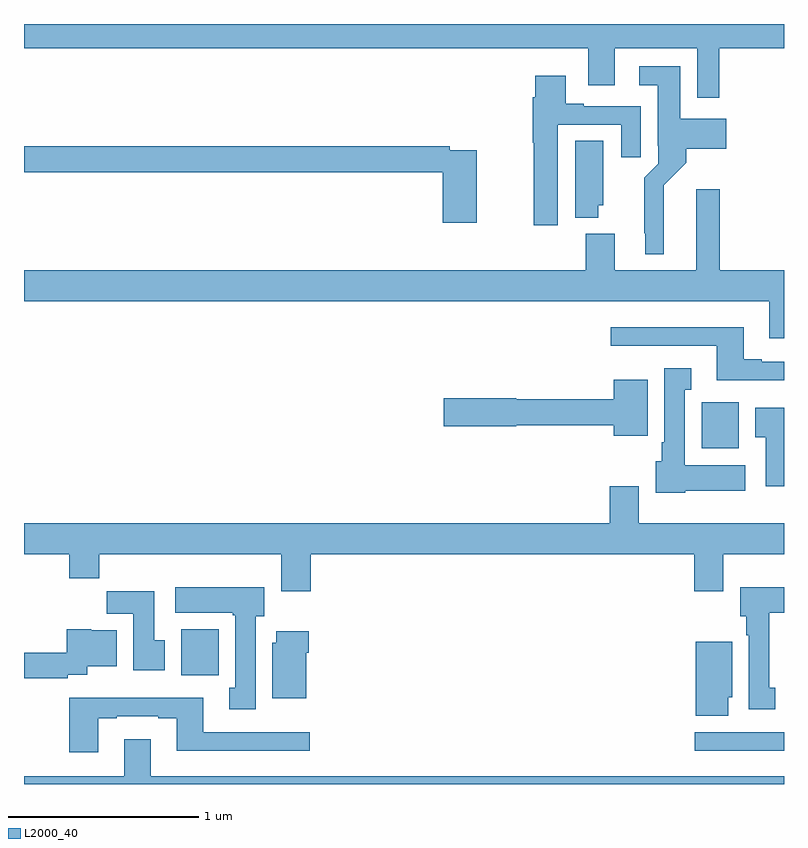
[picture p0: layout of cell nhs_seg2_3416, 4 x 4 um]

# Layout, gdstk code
import gdstk
lib = gdstk.Library(unit=1e-6, precision=1e-09)
def R(c, l, rs):  # rectangles x0, y0, x1, y1
    for r in rs: c.add(gdstk.rectangle(r[:2], r[2:], *l))
def P(c, l, *ps):  # polygons
    for p in ps: c.add(gdstk.Polygon(p, *l))
L2000_40 = (2000, 40)

nhs_seg2_3416 = lib.new_cell('nhs_seg2_3416')
R(nhs_seg2_3416, L2000_40, [(294.531,607.976,295,608.073), (291.827,608.372,292.024,608.614), (294.566,609.566,294.763,609.808)])
P(nhs_seg2_3416, L2000_40, [(295,611.8),(291,611.8),(291,611.672),(293.969,611.672),(293.969,611.478),(294.109,611.478),(294.109,611.672),(294.543,611.672),(294.543,611.412),(294.659,611.412),(294.659,611.672),(295,611.672)],
  [(294.367,610.952),(294.485,611.07),(294.485,611.144),(294.697,611.144),(294.697,611.302),(294.454,611.302),(294.454,611.578),(294.237,611.578),(294.237,611.477),(294.335,611.477),(294.335,611.158),(294.339,611.158),(294.339,611.064),(294.265,610.99),(294.265,610.699),(294.269,610.699),(294.269,610.589),(294.367,610.589)],
  [(293.809,611.271),(294.143,611.271),(294.143,611.1),(294.247,611.1),(294.247,611.367),(293.947,611.367),(293.947,611.38),(293.851,611.38),(293.851,611.527),(293.69,611.527),(293.69,611.414),(293.678,611.414),(293.678,611.174),(293.683,611.174),(293.683,610.74),(293.809,610.74)],
  [(294.022,610.845),(294.049,610.845),(294.049,611.186),(293.9,611.186),(293.9,610.781),(294.022,610.781)],
  [(293.382,611.136),(293.24,611.136),(293.24,611.156),(291,611.156),(291,611.02),(293.204,611.02),(293.204,610.755),(293.382,610.755)],
  [(293.957,610.696),(293.957,610.504),(291,610.504),(291,610.34),(294.923,610.34),(294.923,610.146),(295,610.146),(295,610.504),(294.662,610.504),(294.662,610.93),(294.539,610.93),(294.539,610.504),(294.109,610.504),(294.109,610.696)],
  [(295,610.023),(294.883,610.023),(294.883,610.036),(294.787,610.036),(294.787,610.204),(294.087,610.204),(294.087,610.107),(294.647,610.107),(294.647,609.926),(295,609.926)],
  [(294.48,609.344),(294.796,609.344),(294.796,609.478),(294.478,609.478),(294.478,609.875),(294.511,609.875),(294.511,609.988),(294.371,609.988),(294.371,609.598),(294.356,609.598),(294.356,609.498),(294.326,609.498),(294.326,609.332),(294.48,609.332)],
  [(294.283,609.928),(294.104,609.928),(294.104,609.824),(293.592,609.824),(293.592,609.83),(293.208,609.83),(293.208,609.683),(293.592,609.683),(293.592,609.688),(294.104,609.688),(294.104,609.632),(294.283,609.632)],
  [(295,609.781),(294.848,609.781),(294.848,609.625),(294.905,609.625),(294.905,609.366),(295,609.366)],
  [(292.508,609.008),(294.527,609.008),(294.527,608.814),(294.679,608.814),(294.679,609.008),(295,609.008),(295,609.172),(294.235,609.172),(294.235,609.367),(294.083,609.367),(294.083,609.172),(291,609.172),(291,609.008),(291.239,609.008),(291.239,608.884),(291.395,608.884),(291.395,609.008),(292.355,609.008),(292.355,608.814),(292.508,608.814)],
  [(292.219,608.682),(292.264,608.682),(292.264,608.836),(291.795,608.836),(291.795,608.702),(292.099,608.702),(292.099,608.689),(292.112,608.689),(292.112,608.306),(292.079,608.306),(292.079,608.193),(292.219,608.193)],
  [(294.955,608.306),(294.922,608.306),(294.922,608.702),(295,608.702),(295,608.836),(294.77,608.836),(294.77,608.682),(294.8,608.682),(294.8,608.582),(294.815,608.582),(294.815,608.193),(294.955,608.193)],
  [(291.742,608.556),(291.685,608.556),(291.685,608.815),(291.436,608.815),(291.436,608.696),(291.575,608.696),(291.575,608.4),(291.742,608.4)],
  [(291.23,608.376),(291.333,608.376),(291.333,608.42),(291.487,608.42),(291.487,608.608),(291.354,608.608),(291.354,608.614),(291.225,608.614),(291.225,608.492),(291,608.492),(291,608.356),(291.23,608.356)],
  [(292.486,608.492),(292.499,608.492),(292.499,608.605),(292.328,608.605),(292.328,608.544),(292.307,608.544),(292.307,608.252),(292.486,608.252)],
  [(294.706,608.256),(294.727,608.256),(294.727,608.548),(294.536,608.548),(294.536,608.158),(294.706,608.158)],
  [(291.391,608.145),(291.487,608.145),(291.487,608.157),(291.707,608.157),(291.707,608.145),(291.803,608.145),(291.803,607.976),(292.504,607.976),(292.504,608.073),(291.943,608.073),(291.943,608.254),(291.239,608.254),(291.239,607.968),(291.391,607.968)],
  [(295,607.84),(291.667,607.84),(291.667,608.035),(291.527,608.035),(291.527,607.84),(291,607.84),(291,607.8),(295,607.8)])

lib.write_gds('nhs_seg2_3416.gds')
